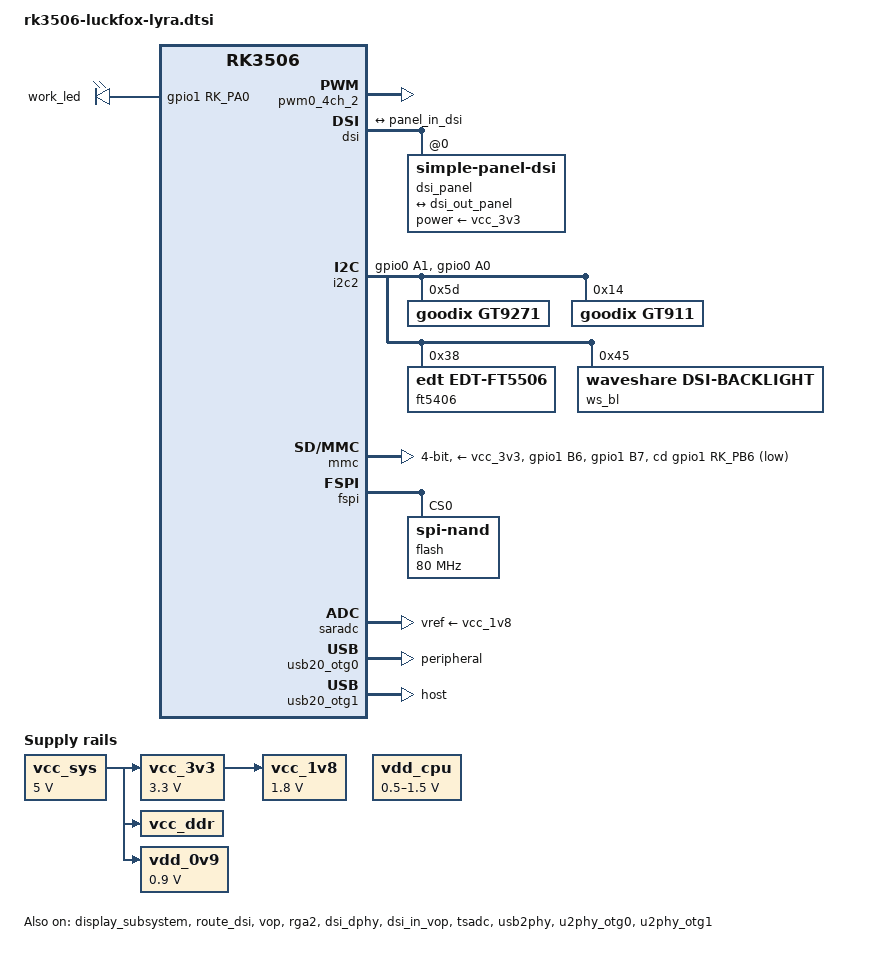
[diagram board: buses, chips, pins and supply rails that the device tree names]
// SPDX-License-Identifier: (GPL-2.0+ OR MIT)
/*
 * Copyright (c) 2024 Rockchip Electronics Co., Ltd.
 */

/dts-v1/;


#include <dt-bindings/pinctrl/rockchip.h>
#include <dt-bindings/display/drm_mipi_dsi.h>
#include <dt-bindings/display/rockchip_vop.h>
#include <dt-bindings/input/rk-input.h>
#include <dt-bindings/sensor-dev.h>
#include <dt-bindings/suspend/rockchip-rk3506.h>
#include "rk3506.dtsi"

/ {
	backlight: backlight {
		compatible = "pwm-backlight";
		pwms = <&pwm0_4ch_2 0 25000 0>;
		brightness-levels = <
			  0  20  20  21  21  22  22  23
			 23  24  24  25  25  26  26  27
			 27  28  28  29  29  30  30  31
			 31  32  32  33  33  34  34  35
			 35  36  36  37  37  38  38  39
			 40  41  42  43  44  45  46  47
			 48  49  50  51  52  53  54  55
			 56  57  58  59  60  61  62  63
			 64  65  66  67  68  69  70  71
			 72  73  74  75  76  77  78  79
			 80  81  82  83  84  85  86  87
			 88  89  90  91  92  93  94  95
			 96  97  98  99 100 101 102 103
			104 105 106 107 108 109 110 111
			112 113 114 115 116 117 118 119
			120 121 122 123 124 125 126 127
			128 129 130 131 132 133 134 135
			136 137 138 139 140 141 142 143
			144 145 146 147 148 149 150 151
			152 153 154 155 156 157 158 159
			160 161 162 163 164 165 166 167
			168 169 170 171 172 173 174 175
			176 177 178 179 180 181 182 183
			184 185 186 187 188 189 190 191
			192 193 194 195 196 197 198 199
			200 201 202 203 204 205 206 207
			208 209 210 211 212 213 214 215
			216 217 218 219 220 221 222 223
			224 225 226 227 228 229 230 231
			232 233 234 235 236 237 238 239
			240 241 242 243 244 245 246 247
			248 249 250 251 252 253 254 255
		>;
		default-brightness-level = <200>;
		status = "disabled";
	};

	adc_keys: adc-keys {
		compatible = "adc-keys";
		io-channels = <&saradc 1>;
		io-channel-names = "buttons";
		keyup-threshold-microvolt = <1800000>;
		poll-interval = <100>;
	};

	fiq_debugger: fiq-debugger {
		compatible = "rockchip,fiq-debugger";
		rockchip,serial-id = <0>;
		rockchip,wake-irq = <0>;
		rockchip,irq-mode-enable = <1>;
		rockchip,baudrate = <1500000>;	/* Only 115200 and 1500000 */
		interrupts = <GIC_SPI 115 IRQ_TYPE_LEVEL_HIGH>;
	};

	leds: leds {
		compatible = "gpio-leds";
		work_led: work-led {
			gpios = <&gpio1 RK_PA0 GPIO_ACTIVE_HIGH>;
			linux,default-trigger = "heartbeat";
		};
	};

	vcc_sys: vcc-sys {
		compatible = "regulator-fixed";
		regulator-name = "vcc_sys";
		regulator-always-on;
		regulator-boot-on;
		regulator-min-microvolt = <5000000>;
		regulator-max-microvolt = <5000000>;
	};

	vcc_3v3: vcc-3v3 {
		compatible = "regulator-fixed";
		regulator-name = "vcc_3v3";
		regulator-always-on;
		regulator-boot-on;
		regulator-min-microvolt = <3300000>;
		regulator-max-microvolt = <3300000>;
		vin-supply = <&vcc_sys>;
	};

	vcc_1v8: vcc-1v8 {
		compatible = "regulator-fixed";
		regulator-name = "vcc_1v8";
		regulator-always-on;
		regulator-boot-on;
		regulator-min-microvolt = <1800000>;
		regulator-max-microvolt = <1800000>;
		vin-supply = <&vcc_3v3>;
	};

	//1.8V
	vcc_ddr: vcc-ddr {
		compatible = "regulator-fixed";
		regulator-name = "vcc_ddr";
		regulator-always-on;
		regulator-boot-on;
		vin-supply = <&vcc_sys>;
	};

	vdd_0v9: vdd-0v9 {
		compatible = "regulator-fixed";
		regulator-name = "vdd_0v9";
		regulator-always-on;
		regulator-boot-on;
		regulator-min-microvolt = <900000>;
		regulator-max-microvolt = <900000>;
		vin-supply = <&vcc_sys>;
	};

	vdd_cpu: vdd-cpu {
		compatible = "regulator-fixed";
		regulator-name = "vdd_cpu";
		regulator-boot-on;
		regulator-always-on;
		regulator-min-microvolt = <500000>;
		regulator-max-microvolt = <1500000>;
		vin-supply = <&vdd_cpu>;
	};
};

/**********cpu**********/
&cpu0 {
	cpu-supply = <&vdd_cpu>;
	status = "okay";
};

/**********display**********/
&cma {
	size = <0x2000000>;
};

&display_subsystem {
	logo-memory-region = <&drm_logo>;
	status = "okay";
};

&route_dsi{
	status = "okay";
};

&vop {
	status = "okay";
};

&rga2 {
	status = "okay";
};

&pwm0_4ch_2 {
	pinctrl-names = "active";
	pinctrl-0 = <&rm_io15_pwm0_ch2>;
	status = "okay";
};

&dsi {
	status = "okay";

	dsi_panel: panel@0 {
		status = "okay";
		compatible = "simple-panel-dsi";
		reg = <0>;
		//backlight = <&backlight>;

		//reset-gpios = <&gpio0 RK_PB5 GPIO_ACTIVE_LOW>;
		prepare-delay-ms = <120>;
		reset-delay-ms = <120>;
		init-delay-ms = <120>;
		disable-delay-ms = <120>;
		unprepare-delay-ms = <120>;

		dsi,flags = <(MIPI_DSI_MODE_VIDEO | MIPI_DSI_MODE_VIDEO_BURST | MIPI_DSI_MODE_LPM | MIPI_DSI_MODE_NO_EOT_PACKET )>;
		dsi,format = <MIPI_DSI_FMT_RGB888>;
		dsi,lanes  = <2>;
		//dsi,lanes  = <1>; // for 800x480

		// 10inch1
		width-mm = <216>;
		height-mm = <135>;

		// 10inch1
		panel-init-sequence = [
			15 00 02 E0 00
			15 00 02 E1 93
			15 00 02 E2 65
			15 00 02 E3 F8
			15 00 02 80 01
			15 00 02 E0 01
			15 00 02 00 00
			15 00 02 01 38
			15 00 02 03 10
			15 00 02 04 38
			15 00 02 0C 74
			15 00 02 17 00
			15 00 02 18 AF
			15 00 02 19 00
			15 00 02 1A 00
			15 00 02 1B AF
			15 00 02 1C 00
			15 00 02 35 26
			15 00 02 37 09
			15 00 02 38 04
			15 00 02 39 00
			15 00 02 3A 01
			15 00 02 3C 78
			15 00 02 3D FF
			15 00 02 3E FF
			15 00 02 3F 7F
			15 00 02 40 06
			15 00 02 41 A0
			15 00 02 42 81
			15 00 02 43 1E
			15 00 02 44 0D
			15 00 02 45 28
			15 00 02 55 02
			15 00 02 57 69
			15 00 02 59 0A
			15 00 02 5A 2A
			15 00 02 5B 17
			15 00 02 5D 7F
			15 00 02 5E 6A
			15 00 02 5F 5B
			15 00 02 60 4F
			15 00 02 61 4A
			15 00 02 62 3D
			15 00 02 63 41
			15 00 02 64 2A
			15 00 02 65 44
			15 00 02 66 43
			15 00 02 67 44
			15 00 02 68 62
			15 00 02 69 52
			15 00 02 6A 59
			15 00 02 6B 4C
			15 00 02 6C 48
			15 00 02 6D 3A
			15 00 02 6E 26
			15 00 02 6F 00
			15 00 02 70 7F
			15 00 02 71 6A
			15 00 02 72 5B
			15 00 02 73 4F
			15 00 02 74 4A
			15 00 02 75 3D
			15 00 02 76 41
			15 00 02 77 2A
			15 00 02 78 44
			15 00 02 79 43
			15 00 02 7A 44
			15 00 02 7B 62
			15 00 02 7C 52
			15 00 02 7D 59
			15 00 02 7E 4C
			15 00 02 7F 48
			15 00 02 80 3A
			15 00 02 81 26
			15 00 02 82 00
			15 00 02 E0 02
			15 00 02 00 42
			15 00 02 01 42
			15 00 02 02 40
			15 00 02 03 40
			15 00 02 04 5E
			15 00 02 05 5E
			15 00 02 06 5F
			15 00 02 07 5F
			15 00 02 08 5F
			15 00 02 09 57
			15 00 02 0A 57
			15 00 02 0B 77
			15 00 02 0C 77
			15 00 02 0D 47
			15 00 02 0E 47
			15 00 02 0F 45
			15 00 02 10 45
			15 00 02 11 4B
			15 00 02 12 4B
			15 00 02 13 49
			15 00 02 14 49
			15 00 02 15 5F
			15 00 02 16 41
			15 00 02 17 41
			15 00 02 18 40
			15 00 02 19 40
			15 00 02 1A 5E
			15 00 02 1B 5E
			15 00 02 1C 5F
			15 00 02 1D 5F
			15 00 02 1E 5F
			15 00 02 1F 57
			15 00 02 20 57
			15 00 02 21 77
			15 00 02 22 77
			15 00 02 23 46
			15 00 02 24 46
			15 00 02 25 44
			15 00 02 26 44
			15 00 02 27 4A
			15 00 02 28 4A
			15 00 02 29 48
			15 00 02 2A 48
			15 00 02 2B 5F
			15 00 02 2C 01
			15 00 02 2D 01
			15 00 02 2E 00
			15 00 02 2F 00
			15 00 02 30 1F
			15 00 02 31 1F
			15 00 02 32 1E
			15 00 02 33 1E
			15 00 02 34 1F
			15 00 02 35 17
			15 00 02 36 17
			15 00 02 37 37
			15 00 02 38 37
			15 00 02 39 08
			15 00 02 3A 08
			15 00 02 3B 0A
			15 00 02 3C 0A
			15 00 02 3D 04
			15 00 02 3E 04
			15 00 02 3F 06
			15 00 02 40 06
			15 00 02 41 1F
			15 00 02 42 02
			15 00 02 43 02
			15 00 02 44 00
			15 00 02 45 00
			15 00 02 46 1F
			15 00 02 47 1F
			15 00 02 48 1E
			15 00 02 49 1E
			15 00 02 4A 1F
			15 00 02 4B 17
			15 00 02 4C 17
			15 00 02 4D 37
			15 00 02 4E 37
			15 00 02 4F 09
			15 00 02 50 09
			15 00 02 51 0B
			15 00 02 52 0B
			15 00 02 53 05
			15 00 02 54 05
			15 00 02 55 07
			15 00 02 56 07
			15 00 02 57 1F
			15 00 02 58 40
			15 00 02 5B 30
			15 00 02 5C 00
			15 00 02 5D 34
			15 00 02 5E 05
			15 00 02 5F 02
			15 00 02 63 00
			15 00 02 64 6A
			15 00 02 67 73
			15 00 02 68 07
			15 00 02 69 08
			15 00 02 6A 6A
			15 00 02 6B 08
			15 00 02 6C 00
			15 00 02 6D 00
			15 00 02 6E 00
			15 00 02 6F 88
			15 00 02 75 FF
			15 00 02 77 DD
			15 00 02 78 2C
			15 00 02 79 15
			15 00 02 7A 17
			15 00 02 7D 14
			15 00 02 7E 82
			15 00 02 E0 04
			15 00 02 00 0E
			15 00 02 02 B3
			15 00 02 09 61
			15 00 02 0E 48
			15 00 02 E0 00
			15 00 02 E6 02
			15 00 02 E7 0C
			05 78 01 11
			05 00 01 E0
			05 05 01 29
		];


		// 7inch
		/*
		panel-init-sequence = [
			39 00 04 FF 98 81 03
			15 00 02 01 00
			15 00 02 02 00
			15 00 02 03 73
			15 00 02 04 00
			15 00 02 05 00
			15 00 02 06 0A
			15 00 02 07 00
			15 00 02 08 00
			15 00 02 09 61
			15 00 02 0A 00
			15 00 02 0B 00
			15 00 02 0C 01
			15 00 02 0D 00
			15 00 02 0E 00
			15 00 02 0F 61
			15 00 02 10 61
			15 00 02 11 00
			15 00 02 12 00
			15 00 02 13 00
			15 00 02 14 00
			15 00 02 15 00
			15 00 02 16 00
			15 00 02 17 00
			15 00 02 18 00
			15 00 02 19 00
			15 00 02 1A 00
			15 00 02 1B 00
			15 00 02 1C 00
			15 00 02 1D 00
			15 00 02 1E 40
			15 00 02 1F 80
			15 00 02 20 06
			15 00 02 21 01
			15 00 02 22 00
			15 00 02 23 00
			15 00 02 24 00
			15 00 02 25 00
			15 00 02 26 00
			15 00 02 27 00
			15 00 02 28 33
			15 00 02 29 03
			15 00 02 2A 00
			15 00 02 2B 00
			15 00 02 2C 00
			15 00 02 2D 00
			15 00 02 2E 00
			15 00 02 2F 00
			15 00 02 30 00
			15 00 02 31 00
			15 00 02 32 00
			15 00 02 33 00
			15 00 02 34 04
			15 00 02 35 00
			15 00 02 36 00
			15 00 02 37 00
			15 00 02 38 3C
			15 00 02 39 00
			15 00 02 3A 00
			15 00 02 3B 00
			15 00 02 3C 00
			15 00 02 3D 00
			15 00 02 3E 00
			15 00 02 3F 00
			15 00 02 40 00
			15 00 02 41 00
			15 00 02 42 00
			15 00 02 43 00
			15 00 02 44 00
			15 00 02 50 10
			15 00 02 51 32
			15 00 02 52 54
			15 00 02 53 76
			15 00 02 54 98
			15 00 02 55 BA
			15 00 02 56 10
			15 00 02 57 32
			15 00 02 58 54
			15 00 02 59 76
			15 00 02 5A 98
			15 00 02 5B BA
			15 00 02 5C DC
			15 00 02 5D FE
			15 00 02 5E 00
			15 00 02 5F 0E
			15 00 02 60 0F
			15 00 02 61 0C
			15 00 02 62 0D
			15 00 02 63 06
			15 00 02 64 07
			15 00 02 65 02
			15 00 02 66 02
			15 00 02 67 02
			15 00 02 68 02
			15 00 02 69 01
			15 00 02 6A 00
			15 00 02 6B 02
			15 00 02 6C 15
			15 00 02 6D 14
			15 00 02 6E 02
			15 00 02 6F 02
			15 00 02 70 02
			15 00 02 71 02
			15 00 02 72 02
			15 00 02 73 02
			15 00 02 74 02
			15 00 02 75 0E
			15 00 02 76 0F
			15 00 02 77 0C
			15 00 02 78 0D
			15 00 02 79 06
			15 00 02 7A 07
			15 00 02 7B 02
			15 00 02 7C 02
			15 00 02 7D 02
			15 00 02 7E 02
			15 00 02 7F 01
			15 00 02 80 00
			15 00 02 81 02
			15 00 02 82 14
			15 00 02 83 15
			15 00 02 84 02
			15 00 02 85 02
			15 00 02 86 02
			15 00 02 87 02
			15 00 02 88 02
			15 00 02 89 02
			15 00 02 8A 02
			39 00 04 FF 98 81 04
			15 00 02 6C 15
			15 00 02 6E 2A
			15 00 02 6F 33
			15 00 02 3B 98
			15 00 02 3A 94
			15 00 02 8D 14
			15 00 02 87 BA
			15 00 02 26 76
			15 00 02 B2 D1
			15 00 02 B5 06
			15 00 02 38 01
			15 00 02 39 00
			39 00 04 FF 98 81 01
			15 00 02 22 0A
			15 00 02 31 00
			15 00 02 53 7d
			15 00 02 55 8F
			15 00 02 40 33
			15 00 02 50 96
			15 00 02 51 96
			15 00 02 60 23
			15 00 02 A0 08
			15 00 02 A1 1D
			15 00 02 A2 2A
			15 00 02 A3 10
			15 00 02 A4 15
			15 00 02 A5 28
			15 00 02 A6 1C
			15 00 02 A7 1D
			15 00 02 A8 7E
			15 00 02 A9 1D
			15 00 02 AA 29
			15 00 02 AB 6B
			15 00 02 AC 1A
			15 00 02 AD 18
			15 00 02 AE 4B
			15 00 02 AF 20
			15 00 02 B0 27
			15 00 02 B1 50
			15 00 02 B2 64
			15 00 02 B3 39
			15 00 02 C0 08
			15 00 02 C1 1D
			15 00 02 C2 2A
			15 00 02 C3 10
			15 00 02 C4 15
			15 00 02 C5 28
			15 00 02 C6 1C
			15 00 02 C7 1D
			15 00 02 C8 7E
			15 00 02 C9 1D
			15 00 02 CA 29
			15 00 02 CB 6B
			15 00 02 CC 1A
			15 00 02 CD 18
			15 00 02 CE 4B
			15 00 02 CF 20
			15 00 02 D0 27
			15 00 02 D1 50
			15 00 02 D2 64
			15 00 02 D3 39
			39 00 04 FF 98 81 00
			15 00 02 35 00
			05 78 01 11
			05 14 01 29
		];

		panel-exit-sequence = [
			05 00 01 28
			05 00 01 10
		];
		*/


		// 5inch
		/*
		panel-init-sequence = [
			39 00 04 B9 FF 83 94
			39 00 0B B1 48 0A 6A 09 33 54 71 71 2E 45
			39 00 07 BA 61 03 68 6B B2 C0
			39 00 07 B2 00 80 64 0C 06 2F
			39 00 16 B4 1C 78 1C 78 1C 78 01 0C 86
				 75 00 3F 1C 78 1C 78 1C 78 01
				 0C 86
			39 00 22 D3 00 00 00 00 00 00 08 08 32
				 10 05 00 05 32 13 C1 00 01 32
				 10 08 00 00 37 03 07 07 37 05
				 05 37 0C 40
			39 00 2D D5 18 18 18 18 22 23 20 21 04
				 05 06 07 00 01 02 03 18 18 18
				 18 18 18 18 18 18 18 18 18 18
				 18 18 18 18 18 18 18 18 18 18
				 18 19 19 19 19
			39 00 2D D6 18 18 19 19 21 20 23 22 03
				 02 01 00 07 06 05 04 18 18 18
				 18 18 18 18 18 18 18 18 18 18
				 18 18 18 18 18 18 18 18 18 18
				 18 19 19 18 18
			39 00 3B E0 07 08 09 0D 10 14 16 13 24
				 36 48 4A 58 6F 76 80 97 A5 A8
				 B5 C6 62 63 68 6F 72 78 7F 7F
				 00 02 08 0D 0C 0E 0F 10 24 36
				 48 4A 58 6F 78 82 99 A4 A0 B1
				 C0 5E 5E 64 6B 6C 73 7F 7F
			15 00 02 CC 08
			39 00 03 C0 1F 73
			39 00 03 B6 6B 6B
			15 00 02 D4 02
			15 00 02 BD 01
			15 00 02 B1 00
			15 00 02 BD 00
			15 00 02 13 01
			15 00 02 20 01
			15 00 02 21 00
			15 00 02 36 08
			39 00 08 BF 40 81 50 00 1A FC 01
			05 C8 01 11
			39 00 0D B2 00 80 64 0C 06 2F 00 00 00 00 C0 18
			05 50 01 29
		];
		*/


		// for 800x480
		/*
		panel-init-sequence = [
			29 00 06 10 02 03 00 00 00
			29 00 06 64 01 0c 00 00 00
			29 00 06 68 01 0c 00 00 00
			29 00 06 44 01 00 00 00 49
			29 00 06 48 01 00 00 00 00
			29 00 06 14 01 15 00 00 00
			29 00 06 50 04 60 00 00 00
			29 00 06 20 04 52 01 10 00
			29 00 06 24 04 14 00 1a 00
			29 00 06 28 04 20 03 69 00
			29 00 06 2c 04 02 00 15 00
			29 00 06 30 04 e0 01 07 00
			29 00 06 34 04 01 00 00 00
			29 00 06 64 04 0f 04 00 00
			29 00 06 01 01 01 00 00 00
			29 00 06 02 02 01 00 00 00
		];
		*/

		disp_timings0: display-timings {
			native-mode = <&dsi_timing0>;

			// 10inch1
			dsi_timing0: timing0 {
				clock-frequency = <70000000>;//60fps
				//clock-frequency = <69907200>;

				hactive = <800>;
				vactive = <1280>;

				vsync-len = <4>;
				vback-porch = <10>;
				vfront-porch = <30>;

				hsync-len = <20>;
				hback-porch = <20>;
				hfront-porch = <40>;

				vsync-active = <0>;
				hsync-active = <0>;
				de-active = <0>;
				pixelclk-active = <0>;
			};

			// 7inch
			dsi_timing1: timing1 {
				clock-frequency = <84000000>;
				hactive = <720>;
				vactive = <1280>;
				vsync-len = <30>;
				vback-porch = <20>;
				vfront-porch = <2>;
				hsync-len = <50>;
				hback-porch = <239>;
				hfront-porch = <33>;
				hsync-active = <0>;
				vsync-active = <0>;
				de-active = <0>;
				pixelclk-active = <0>;
			};

			// 5inch
			dsi_timing2: timing2 {
				clock-frequency = <63000000>;
				hactive = <720>;
				vactive = <1280>;
				vsync-len = <4>;
				vback-porch = <30>;
				vfront-porch = <10>;
				hsync-len = <20>;
				hback-porch = <40>;
				hfront-porch = <20>;
				hsync-active = <0>;
				vsync-active = <0>;
				de-active = <0>;
				pixelclk-active = <0>;
			};

			/* 2.8inch 480x640
			 * https://www.waveshare.com/product/raspberry-pi/displays/2.8inch-dsi-lcd.htm
			 */
			ws_2inch8: ws-2inch8 {
				clock-frequency = <50000000>;

				hactive = <480>;
				vactive = <640>;

				vsync-len = <150>;
				vback-porch = <50>;
				vfront-porch = <150>;

				hsync-len = <150>;
				hback-porch = <150>;
				hfront-porch = <50>;

				vsync-active = <0>;
				hsync-active = <0>;
				de-active = <0>;
				pixelclk-active = <0>;
			};

			/* 3.4inch 800x800 Round
			 * https://www.waveshare.com/product/displays/lcd-oled/3.4inch-dsi-lcd-c.htm
			 */
			ws_3inch4: ws-3inch4 {
				clock-frequency = <50000000>;

				hactive = <800>;
				vactive = <800>;

				vsync-len = <16>;
				vback-porch = <4>;
				vfront-porch = <8>;

				hsync-len = <120>;
				hback-porch = <32>;
				hfront-porch = <6>;

				vsync-active = <0>;
				hsync-active = <0>;
				de-active = <0>;
				pixelclk-active = <0>;
			};

			/* 4.0inch 480x800
			 * https://www.waveshare.com/product/raspberry-pi/displays/4inch-dsi-lcd.htm
			 */
			ws_4inch: ws-4inch {
				clock-frequency = <50000000>;

				hactive = <480>;
				vactive = <800>;

				vsync-len = <20>;
				vback-porch = <100>;
				vfront-porch = <20>;

				hsync-len = <150>;
				hback-porch = <150>;
				hfront-porch = <100>;

				vsync-active = <0>;
				hsync-active = <0>;
				de-active = <0>;
				pixelclk-active = <0>;
			};

			/* 7.0inch C / 5.0inch C 1024x600
			 * https://www.waveshare.com/product/raspberry-pi/displays/lcd-oled/7inch-dsi-lcd-c-with-case-a.htm
			 * https://www.waveshare.com/product/raspberry-pi/displays/lcd-oled/5inch-dsi-lcd-c.htm
			 */
			ws_7inch_5inch_c: ws-7inch-5inch-c {
				clock-frequency = <50000000>;

				hactive = <1024>;
				vactive = <600>;

				vsync-len = <10>;
				vback-porch = <10>;
				vfront-porch = <10>;

				hsync-len = <100>;
				hback-porch = <100>;
				hfront-porch = <100>;

				vsync-active = <0>;
				hsync-active = <0>;
				de-active = <0>;
				pixelclk-active = <0>;
			};

			/* 7.9inch 400x1280
			 * https://www.waveshare.com/product/raspberry-pi/displays/7.9inch-dsi-lcd.htm
			 */
			ws_7inch9: ws-7inch9 {
				clock-frequency = <50000000>;

				hactive = <400>;
				vactive = <1280>;

				vsync-len = <20>;
				vback-porch = <10>;
				vfront-porch = <20>;

				hsync-len = <40>;
				hback-porch = <40>;
				hfront-porch = <30>;

				vsync-active = <0>;
				hsync-active = <0>;
				de-active = <0>;
				pixelclk-active = <0>;
			};

			/* 10.1inch / 8.0inch 1280x800
			 * https://www.waveshare.com/product/raspberry-pi/displays/10.1inch-dsi-lcd-c.htm
			 * https://www.waveshare.com/product/raspberry-pi/displays/8inch-dsi-lcd-c.htm
			 */
			ws_8inch_10inch1: ws-8inch-10inch1 {
				clock-frequency = <83333000>;

				hactive = <1280>;
				vactive = <800>;

				vsync-len = <40>;
				vback-porch = <48>;
				vfront-porch = <40>;

				hsync-len = <40>;
				hback-porch = <156>;
				hfront-porch = <20>;

				vsync-active = <0>;
				hsync-active = <0>;
				de-active = <0>;
				pixelclk-active = <0>;
			};

			/* 11.9inch 320x1480
			 * https://www.waveshare.com/product/raspberry-pi/displays/11.9inch-dsi-lcd.htm
			 */
			ws_11inch9: ws-11inch9 {
				clock-frequency = <50000000>;

				hactive = <320>;
				vactive = <1480>;

				vsync-len = <60>;
				vback-porch = <60>;
				vfront-porch = <60>;

				hsync-len = <60>;
				hback-porch = <60>;
				hfront-porch = <60>;

				vsync-active = <0>;
				hsync-active = <0>;
				de-active = <0>;
				pixelclk-active = <0>;
			};

			/* 4inch C 720x720
			 * https://www.waveshare.com/product/raspberry-pi/displays/4inch-dsi-lcd-c.htm
			 */
			ws_4inch_c: ws-4inch-c {
				clock-frequency = <50000000>;

				hactive = <720>;
				vactive = <720>;

				vsync-len = <16>;
				vback-porch = <4>;
				vfront-porch = <8>;

				hsync-len = <120>;
				hback-porch = <32>;
				hfront-porch = <200>;

				vsync-active = <0>;
				hsync-active = <0>;
				de-active = <0>;
				pixelclk-active = <0>;
			};

			/* 5.0inch D 720x1280
			 * https://www.waveshare.com/5inch-dsi-lcd-d.htm
			 */
			ws_5inch_d: ws-5inch-d {
				clock-frequency = <83333000>;

				hactive = <720>;
				vactive = <1280>;

				vsync-len = <20>;
				vback-porch = <20>;
				vfront-porch = <20>;

				hsync-len = <100>;
				hback-porch = <100>;
				hfront-porch = <80>;

				vsync-active = <0>;
				hsync-active = <0>;
				de-active = <0>;
				pixelclk-active = <0>;
			};

			/* 6.25inch 720x1560
			 * https://www.waveshare.com/6.25inch-dsi-lcd.htm
			 */
			ws_6inch25: ws-6inch25 {
				clock-frequency = <83333000>;

				hactive = <720>;
				vactive = <1560>;

				vsync-len = <20>;
				vback-porch = <20>;
				vfront-porch = <20>;

				hsync-len = <50>;
				hback-porch = <50>;
				hfront-porch = <50>;

				vsync-active = <0>;
				hsync-active = <0>;
				de-active = <0>;
				pixelclk-active = <0>;
			};

			/* 8.8inch 480x1920
			 * https://www.waveshare.com/8.8inch-dsi-lcd.htm
			 */
			ws_8inch8: ws-8inch8 {
				clock-frequency = <83333000>;

				hactive = <480>;
				vactive = <1920>;

				vsync-len = <20>;
				vback-porch = <20>;
				vfront-porch = <20>;

				hsync-len = <50>;
				hback-porch = <50>;
				hfront-porch = <50>;

				vsync-active = <0>;
				hsync-active = <0>;
				de-active = <0>;
				pixelclk-active = <0>;
			};

			/* 7.0inch H 1280x720
			 * https://www.waveshare.com/7inch-dsi-lcd-h.htm
			 */
			ws_7inch_h: ws-7inch-h {
				clock-frequency = <83333000>;

				hactive = <1280>;
				vactive = <720>;

				vsync-len = <64>;
				vback-porch = <64>;
				vfront-porch = <64>;

				hsync-len = <64>;
				hback-porch = <64>;
				hfront-porch = <64>;

				vsync-active = <0>;
				hsync-active = <0>;
				de-active = <0>;
				pixelclk-active = <0>;
			};

			/* 800 x 480
			 * https://www.waveshare.com/4.3inch-dsi-lcd.htm
			 * https://www.waveshare.com/5inch-dsi-lcd-b.htm
			 * https://www.waveshare.com/7inch-dsi-lcd-with-cam.htm
			 * https://www.waveshare.com/8inch-dsi-lcd.htm
			 */
			ws_800_480: ws-800-480 {
				clock-frequency = <30000000>;

				hactive = <800>;
				vactive = <480>;

				vsync-len = <22>;
				vback-porch = <2>;
				vfront-porch = <7>;

				hsync-len = <45>;
				hback-porch = <2>;
				hfront-porch = <131>;

				vsync-active = <0>;
				hsync-active = <0>;
				de-active = <0>;
				pixelclk-active =<0>;
			};

		};

		ports {
			#address-cells = <1>;
			#size-cells = <0>;

			port@0 {
				reg = <0>;
				panel_in_dsi: endpoint {
					remote-endpoint = <&dsi_out_panel>;
				};
			};
		};
	};

	ports {
		#address-cells = <1>;
		#size-cells = <0>;

		port@1 {
			reg = <1>;
			dsi_out_panel: endpoint {
				remote-endpoint = <&panel_in_dsi>;
			};
		};
	};

};

&dsi_dphy {
	status = "okay";
};

&dsi_in_vop {
	status = "okay";
};

&dsi_panel {
	power-supply = <&vcc_3v3>;
};

/**********TP**********/
&i2c2{
	status = "okay";
	pinctrl-names = "default";
	pinctrl-0 = <&rm_io1_i2c2_scl &rm_io0_i2c2_sda>;

	gt9271: gt9271@5d {
		status = "okay";
		compatible = "goodix,gt9271";
		reg = <0x5d>;
		pinctrl-names = "default";
	};

	gt911: gt911@14 {
		status = "okay";
		compatible = "goodix,gt911";
		reg = <0x14>;

		/*
		// 2.8inch
		touchscreen-size-x = <480>;
		touchscreen-size-y = <640>;
		touchscreen-inverted-y;
		touchscreen-swapped-x-y;
		*/

		/*
		// 3.4inch
		touchscreen-size-x = <800>;
		touchscreen-size-y = <800>;
		*/

		/*
		// 4.0inch
		touchscreen-size-x = <800>;
		touchscreen-size-y = <480>;
		touchscreen-inverted-x;
		touchscreen-swapped-x-y;
		*/

		/*
		// 7.0inch C / 5.0inch C
		touchscreen-size-x = <800>;
		touchscreen-size-y = <480>;
		*/

		/*
		// 7inch9
		touchscreen-size-x = <4096>;
		touchscreen-size-y = <4096>;
		touchscreen-inverted-x;
		touchscreen-swapped-x-y;
		*/

		/*
		// 10.1inch / 8.0inch
		touchscreen-size-x = <800>;
		touchscreen-size-y = <1280>;
		touchscreen-inverted-x;
		touchscreen-swapped-x-y;
		*/

		/*
		// 11.9inch
		touchscreen-inverted-x;
		touchscreen-swapped-x-y;
		*/

		/*
		// 4inch C
		touchscreen-size-x = <720>;
		touchscreen-size-y = <720>;
		*/

		/*
		// 5inch D
		touchscreen-inverted-x;
		touchscreen-inverted-y;
		*/

		/*
		// 6inch25
		touchscreen-inverted-x;
		touchscreen-inverted-y;
		*/

		/*
		// 8.8inch
		*/

		/*
		// 7inch H
		touchscreen-inverted-x;
		touchscreen-swapped-x-y;
		*/

	};

	ft5406: ft5406@38 {
		status = "okay";
		compatible = "edt,edt-ft5506";
		reg = <0x38>;

		touchscreen-inverted-x;
		touchscreen-inverted-y;
		//touchscreen-swapped-x-y;

		touchscreen-size-x = <800>;
		touchscreen-size-y = <480>;
	};

	ws_bl: ws-bl@45 {
		status = "okay";
		compatible = "waveshare,dsi-backlight";
		reg = <0x45>;
		default-brightness-level = <200>;
		max-brightness-level = <255>;
		min-brightness-level = <5>;
	};

};

&pinctrl {
	rm_io0 {
		rm_io0_i2c2_sda: rm-io0-i2c2-sda {
			rockchip,pins =
				<0 RK_PA0 35 &pcfg_pull_up>;
		};
	};

	rm_io1 {
		rm_io1_i2c2_scl: rm-io1-i2c2-scl {
			rockchip,pins =
				<0 RK_PA1 34 &pcfg_pull_up>;
		};
	};
};

/**********media**********/
&mmc {
	/* For SDMMC */
	max-frequency = <52000000>;
	bus-width = <4>;
	no-sdio;
	no-mmc;
	cap-mmc-highspeed;
	cap-sd-highspeed;
	cd-gpios = <&gpio1 RK_PB6 GPIO_ACTIVE_LOW>; //det
	disable-wp;
	//sd-uhs-sdr104;
	pinctrl-names = "default";
	pinctrl-0 = <&sdmmc_clk_pins &sdmmc_cmd_pins &sdmmc_bus4_pins &sdmmc_det &sdmmc_pwren>;
	vqmmc-supply = <&vcc_3v3>;
	vmmc-supply = <&vcc_3v3>;
	status = "okay";
};


&fspi {
	status = "okay";

	flash@0 {
		compatible = "spi-nand";
		reg = <0>;
		spi-max-frequency = <80000000>;
		spi-rx-bus-width = <4>;
		spi-tx-bus-width = <1>;
	};
};

/**********adc**********/
&saradc {
	vref-supply = <&vcc_1v8>;
	status = "okay";
};

&tsadc {
	pinctrl-names = "gpio", "otpout";
	pinctrl-0 = <&wdt_tsadc_gpio>;
	pinctrl-1 = <&rm_io21_wdt_tsadc_shut>;

	status = "okay";
};

/**********usb**********/
&usb20_otg0 {
	dr_mode = "peripheral";
	/* vbus-supply = <&vcc5v0_otg0>;
	rockchip,gpio-vbus-det; */
	status = "okay";
};

&usb20_otg1 {
	dr_mode = "host";
	status = "okay";
};

&usb2phy {
	/* extcon = <&extcon_usb>; */
	status = "okay";
};

&u2phy_otg0 {
	status = "okay";
};

&u2phy_otg1 {
	status = "okay";
};

/**********pinctrl**********/
&pinctrl {
	sdmmc {
		/omit-if-no-ref/
		sdmmc_pwren: sdmmc-pwren {
			rockchip,pins = <1 RK_PB7 RK_FUNC_GPIO &pcfg_pull_down>;
		};

		sdmmc_det: sdmmc-det {
			rockchip,pins = <1 RK_PB6 RK_FUNC_GPIO &pcfg_pull_up>;
		};
	};

	tsadc {
		wdt_tsadc_gpio: wdt-tsadc-gpio {
			rockchip,pins = <0 RK_PC5 RK_FUNC_GPIO &pcfg_pull_none>;
		};
	};
};
